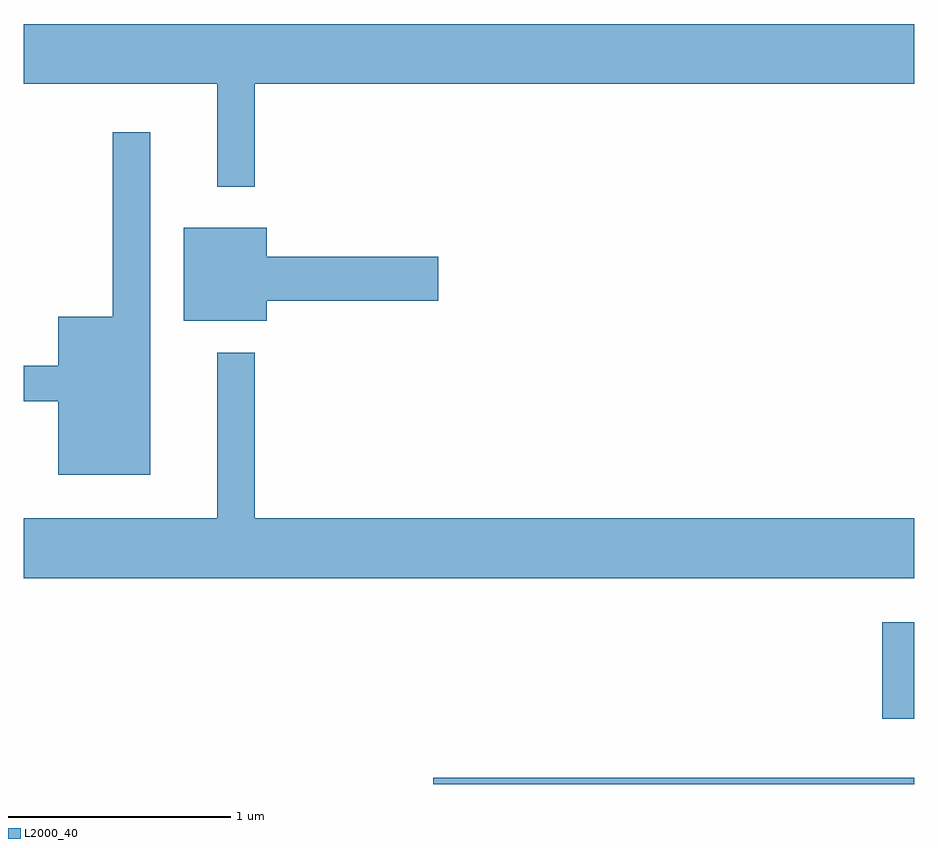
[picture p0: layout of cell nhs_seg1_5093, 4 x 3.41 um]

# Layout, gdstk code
import gdstk
lib = gdstk.Library(unit=1e-6, precision=1e-09)
def R(c, l, rs):  # rectangles x0, y0, x1, y1
    for r in rs: c.add(gdstk.rectangle(r[:2], r[2:], *l))
def P(c, l, *ps):  # polygons
    for p in ps: c.add(gdstk.Polygon(p, *l))
L2000_40 = (2000, 40)

nhs_seg1_5093 = lib.new_cell('nhs_seg1_5093')
R(nhs_seg1_5093, L2000_40, [(339.451,949.712,341.611,949.739), (341.466,950.006,341.611,950.439)])
P(nhs_seg1_5093, L2000_40, [(338.649,952.856),(341.611,952.856),(341.611,953.124),(337.611,953.124),(337.611,952.856),(338.481,952.856),(338.481,952.393),(338.649,952.393)],
  [(338.179,952.638),(338.011,952.638),(338.011,951.809),(337.766,951.809),(337.766,951.589),(337.611,951.589),(337.611,951.431),(337.766,951.431),(337.766,951.101),(338.179,951.101)],
  [(338.704,951.881),(339.474,951.881),(339.474,952.079),(338.704,952.079),(338.704,952.209),(338.331,952.209),(338.331,951.791),(338.704,951.791)],
  [(341.611,950.904),(338.649,950.904),(338.649,951.648),(338.481,951.648),(338.481,950.904),(337.611,950.904),(337.611,950.636),(341.611,950.636)])

lib.write_gds('nhs_seg1_5093.gds')
